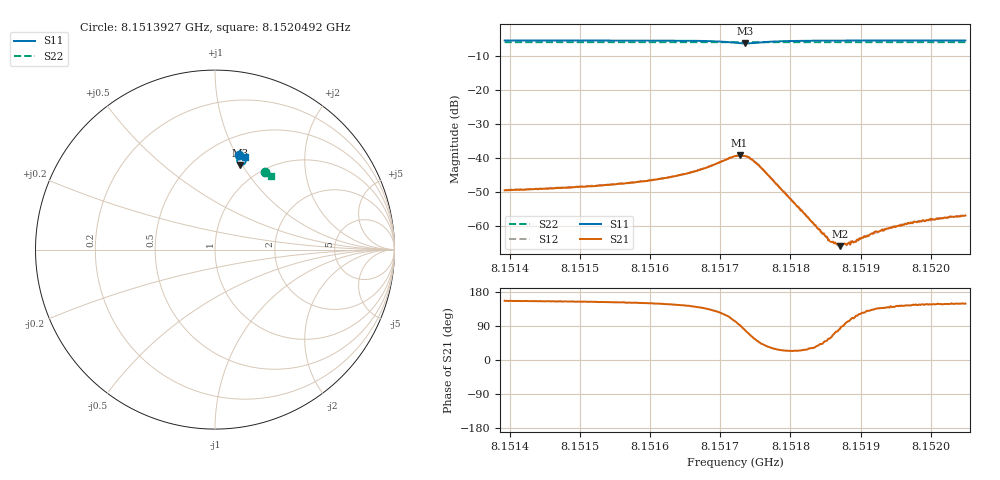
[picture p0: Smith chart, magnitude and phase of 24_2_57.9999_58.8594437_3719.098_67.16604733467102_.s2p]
#  HZ  S  RI  R  50.00
! Rohde & Schwarz Vector Network Analyzer
! Rohde-Schwarz,ZNB20-2Port,1311601062101988,3.16
! Created: UTC 3/21/2024, 12:51:18 AM
! freq[Hz]  re:S11  im:S11  re:S21  im:S21  re:S12  im:S12  re:S22  im:S22
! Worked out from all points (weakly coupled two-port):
!   401 points, 8.1513927 GHz to 8.1520492 GHz, reference 50 ohm
!   highest |S21| = -39.15 dB at 8.1517275 GHz (marker M1); lowest = -65.9 dB at 8.1518703 GHz (marker M2)
!   lowest |S11| = -6.1 dB at 8.1517357 GHz (marker M3), VSWR 2.94, Z = 39.4 + j49.2 ohm
!   |S11| at or under -10 dB: nowhere
!   |S22| runs from -5.8 to -5.8 dB; largest |S21 - S12| = 0.00033
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8.15139271e9  0.135 0.527  -0.00309 0.00135  -0.0031 0.00141  0.2761 0.4336
8.15150267e9  0.1445 0.5241  -0.00343 0.00168  -0.00345 0.00171  0.2822 0.4295
8.15156503e9  0.1508 0.5218  -0.00378 0.00204  -0.00378 0.00209  0.2856 0.4272
8.15161262e9  0.1567 0.5189  -0.00423 0.00257  -0.00421 0.00263  0.2882 0.4253
8.15164052e9  0.161 0.516  -0.00461 0.0032  -0.00458 0.00327  0.2896 0.4241
8.15166514e9  0.1657 0.5114  -0.005 0.00416  -0.005 0.00423  0.2909 0.423
8.15172094e9  0.1626 0.4771  -0.00228 0.0106  -0.00216 0.0105  0.2931 0.4198
8.15172751e9  0.1545 0.4727  -0.000386 0.011  -0.000237 0.0111  0.293 0.4196
8.15173571e9  0.1416 0.4723  0.00223 0.0105  0.0024 0.0105  0.293 0.4196
8.15174392e9  0.1305 0.4784  0.00439 0.00869  0.00441 0.00866  0.293 0.4197
8.15175705e9  0.1234 0.494  0.00525 0.00524  0.00533 0.0052  0.2938 0.4199
8.15181777e9  0.1413 0.5189  0.00144 0.000702  0.00146 0.000682  0.2977 0.4182
8.1518309e9  0.1444 0.5197  0.000982 0.000612  0.000985 0.000565  0.2986 0.4178
8.15185552e9  0.149 0.5202  0.000342 0.000518  0.000337 0.000522  0.3 0.4166
8.15187029e9  0.1515 0.5202  7.48e-05 0.000502  7.86e-05 0.000513  0.3007 0.4161
8.15188014e9  0.1528 0.5201  -9.1e-05 0.000526  -7.43e-05 0.000517  0.3014 0.4157
8.15188834e9  0.1538 0.5201  -0.000215 0.000549  -0.000182 0.000578  0.3017 0.4155
8.15191952e9  0.1577 0.5197  -0.000568 0.000592  -0.000542 0.000581  0.3035 0.4143
8.15194086e9  0.1599 0.5193  -0.000697 0.000627  -0.000714 0.000608  0.3046 0.4132
8.15197861e9  0.1635 0.5187  -0.000969 0.000638  -0.000953 0.000688  0.3066 0.4118
8.15202784e9  0.168 0.5176  -0.00118 0.000745  -0.00116 0.000738  0.3092 0.4099
8.15204918e9  0.1698 0.5172  -0.00123 0.00074  -0.00122 0.000732  0.3101 0.4089
